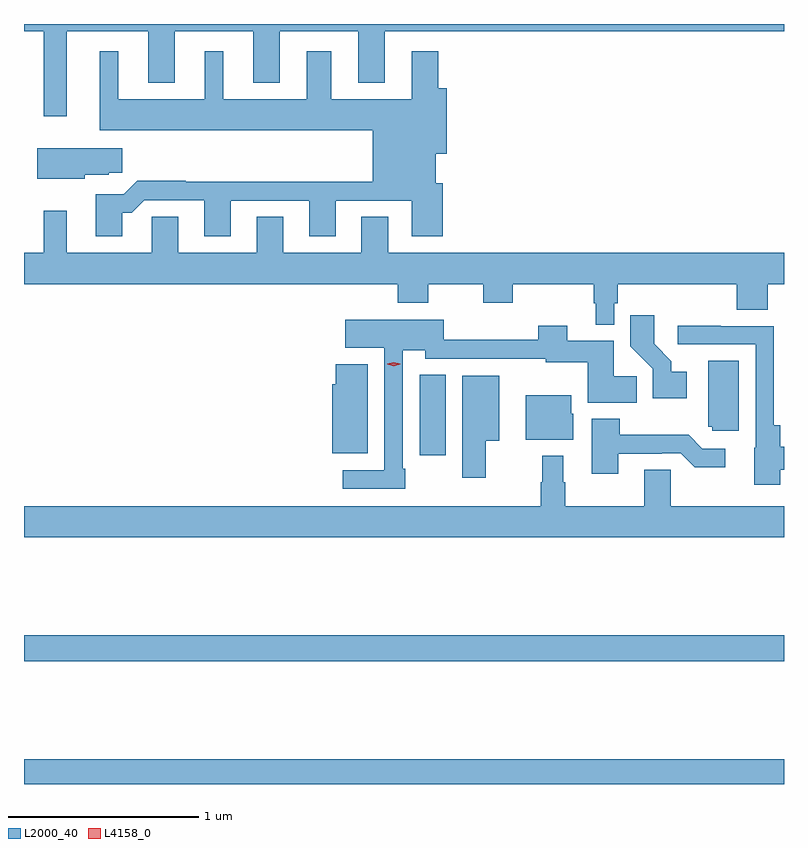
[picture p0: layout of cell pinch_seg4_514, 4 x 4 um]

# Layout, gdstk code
import gdstk
lib = gdstk.Library(unit=1e-6, precision=1e-09)
def R(c, l, rs):  # rectangles x0, y0, x1, y1
    for r in rs: c.add(gdstk.rectangle(r[:2], r[2:], *l))
def P(c, l, *ps):  # polygons
    for p in ps: c.add(gdstk.Polygon(p, *l))
L2000_40 = (2000, 40)
L4158_0 = (4158, 0)

pinch_seg4_514 = lib.new_cell('pinch_seg4_514')
R(pinch_seg4_514, L2000_40, [(985.787,750.233,989.787,750.364), (985.787,750.88,989.787,751.016), (987.869,751.962,988.006,752.387)])
P(pinch_seg4_514, L2000_40, [(985.787,754.196),(985.89,754.196),(985.89,753.747),(986.011,753.747),(986.011,754.196),(986.441,754.196),(986.441,753.923),(986.581,753.923),(986.581,754.196),(986.993,754.196),(986.993,753.923),(987.133,753.923),(987.133,754.196),(987.545,754.196),(987.545,753.923),(987.685,753.923),(987.685,754.196),(989.787,754.196),(989.787,754.233),(985.787,754.233)],
  [(986.305,753.239),(986.354,753.239),(986.421,753.306),(986.735,753.306),(986.735,753.117),(986.875,753.117),(986.875,753.303),(987.287,753.303),(987.287,753.117),(987.427,753.117),(987.427,753.303),(987.827,753.303),(987.827,753.117),(987.992,753.117),(987.992,753.396),(987.955,753.396),(987.955,753.551),(988.012,753.551),(988.012,753.895),(987.968,753.895),(987.968,754.09),(987.827,754.09),(987.827,753.838),(987.403,753.838),(987.403,754.09),(987.275,754.09),(987.275,753.838),(986.836,753.838),(986.836,754.09),(986.738,754.09),(986.738,753.838),(986.284,753.838),(986.284,754.09),(986.186,754.09),(986.186,753.674),(987.623,753.674),(987.623,753.404),(986.639,753.404),(986.639,753.407),(986.384,753.407),(986.313,753.336),(986.165,753.336),(986.165,753.117),(986.305,753.117)],
  [(986.106,753.44),(986.232,753.44),(986.232,753.451),(986.305,753.451),(986.305,753.58),(985.856,753.58),(985.856,753.419),(986.106,753.419)],
  [(988.893,752.763),(988.913,752.763),(988.913,752.864),(989.537,752.864),(989.537,752.728),(989.702,752.728),(989.702,752.864),(989.787,752.864),(989.787,753.028),(987.703,753.028),(987.703,753.218),(987.563,753.218),(987.563,753.028),(987.151,753.028),(987.151,753.218),(987.011,753.218),(987.011,753.028),(986.599,753.028),(986.599,753.218),(986.46,753.218),(986.46,753.028),(986.011,753.028),(986.011,753.25),(985.89,753.25),(985.89,753.028),(985.787,753.028),(985.787,752.864),(987.755,752.864),(987.755,752.765),(987.915,752.765),(987.915,752.864),(988.204,752.864),(988.204,752.765),(988.359,752.765),(988.359,752.864),(988.785,752.864),(988.785,752.763),(988.796,752.763),(988.796,752.651),(988.893,752.651)],
  [(989.275,752.404),(989.194,752.404),(989.194,752.459),(989.104,752.549),(989.104,752.701),(988.978,752.701),(988.978,752.538),(989.097,752.419),(989.097,752.264),(989.275,752.264)],
  [(987.793,751.891),(987.78,751.891),(987.78,752.516),(987.9,752.516),(987.9,752.472),(988.533,752.472),(988.533,752.453),(988.754,752.453),(988.754,752.24),(989.012,752.24),(989.012,752.378),(988.891,752.378),(988.891,752.566),(988.645,752.566),(988.645,752.644),(988.493,752.644),(988.493,752.57),(987.996,752.57),(987.996,752.677),(987.477,752.677),(987.477,752.528),(987.684,752.528),(987.684,751.884),(987.465,751.884),(987.465,751.788),(987.793,751.788)],
  [(989.766,751.886),(989.787,751.886),(989.787,752.008),(989.766,752.008),(989.766,752.122),(989.733,752.122),(989.733,752.643),(989.453,752.643),(989.453,752.646),(989.229,752.646),(989.229,752.547),(989.637,752.547),(989.637,752.004),(989.63,752.004),(989.63,751.808),(989.766,751.808)],
  [(989.548,752.461),(989.387,752.461),(989.387,752.112),(989.409,752.112),(989.409,752.091),(989.548,752.091)],
  [(987.595,752.443),(987.428,752.443),(987.428,752.337),(987.41,752.337),(987.41,751.973),(987.595,751.973)],
  [(988.216,752.039),(988.288,752.039),(988.288,752.383),(988.094,752.383),(988.094,751.845),(988.216,751.845)],
  [(988.678,752.181),(988.666,752.181),(988.666,752.278),(988.427,752.278),(988.427,752.045),(988.678,752.045)],
  [(988.915,751.971),(989.144,751.971),(989.144,751.974),(989.244,751.974),(989.317,751.901),(989.479,751.901),(989.479,751.998),(989.358,751.998),(989.285,752.071),(988.923,752.071),(988.923,752.155),(988.775,752.155),(988.775,751.866),(988.915,751.866)],
  [(989.787,751.696),(989.19,751.696),(989.19,751.886),(989.051,751.886),(989.051,751.696),(988.636,751.696),(988.636,751.82),(988.624,751.82),(988.624,751.96),(988.515,751.96),(988.515,751.82),(988.507,751.82),(988.507,751.696),(985.787,751.696),(985.787,751.532),(989.787,751.532)])
P(pinch_seg4_514, L4158_0, [(987.733,752.433),(987.698,752.443),(987.698,752.443),(987.698,752.444),(987.733,752.453),(987.768,752.444),(987.768,752.443),(987.768,752.443)])

lib.write_gds('pinch_seg4_514.gds')
